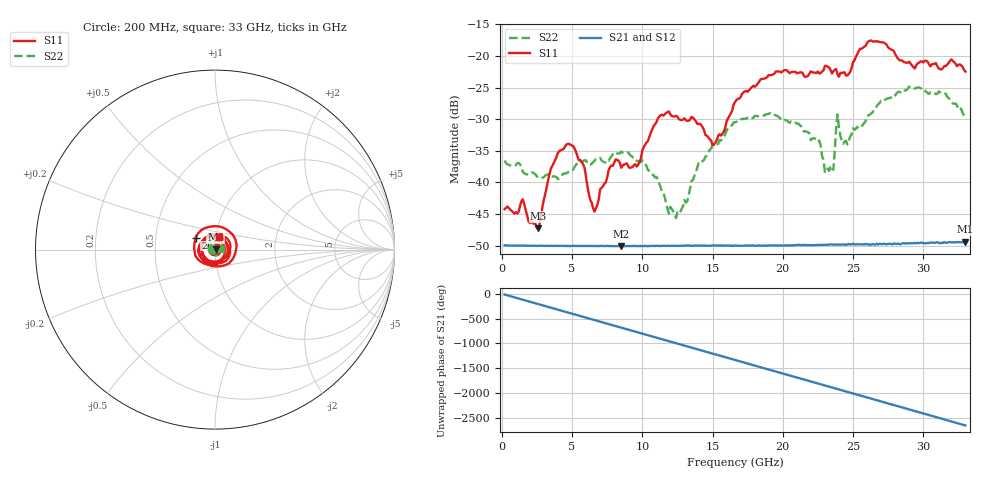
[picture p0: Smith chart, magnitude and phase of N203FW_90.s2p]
# GHZ S RI R 50
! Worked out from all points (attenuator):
!   329 points, 200 MHz to 33 GHz, reference 50 ohm
!   highest |S21| = -49.40 dB at 33 GHz (marker M1); lowest = -50.1 dB at 8.5 GHz (marker M2)
!   lowest |S11| = -47.2 dB at 2.6 GHz (marker M3), VSWR 1.01, Z = 50.4 + j0.104 ohm
!   |S11| at or under -10 dB: start of sweep to end of sweep
!   |S22| runs from -45.6 to -24.8 dB; largest |S21 - S12| = 8.8e-05
!   S11 on the Smith chart (normalised r, x): 200 MHz: 1.01, +0.00; 26 GHz: 0.80, +0.11; 33 GHz: 1.03, +0.15
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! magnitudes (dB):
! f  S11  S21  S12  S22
! 200 MHz  -44.2  -50.0  -49.9  -36.5
! 1.5 GHz  -42.7  -50.0  -50.0  -38.3
! 2.6 GHz  -47.2  -50.0  -50.0  -39.1
! 4 GHz  -35.3  -50.0  -50.0  -39.5
! 5.7 GHz  -36.8  -50.1  -50.0  -36.7
! 6.6 GHz  -44.6  -50.1  -50.1  -36.6
! 7.7 GHz  -37.6  -50.1  -50.1  -36.2
! 8.5 GHz  -37.7  -50.1  -50.1  -35.1
! 9.7 GHz  -37.2  -50.1  -50.1  -36.7
! 11.2 GHz  -29.6  -50.1  -50.0  -40.1
! 12.4 GHz  -29.5  -50.0  -50.0  -45.6
! 15 GHz  -34.1  -50.0  -50.0  -34.1
! 16.6 GHz  -27.3  -50.0  -50.0  -30.5
! 19.3 GHz  -22.9  -50.0  -50.0  -29.1
! 22.1 GHz  -22.6  -49.9  -49.9  -33.1
! 23.6 GHz  -22.4  -49.8  -49.8  -38.0
! 23.9 GHz  -22.9  -49.8  -49.8  -29.2
! 24.6 GHz  -23.1  -49.9  -49.8  -34.0
! 26 GHz  -17.9  -49.8  -49.8  -29.4
! 27.6 GHz  -18.8  -49.7  -49.7  -26.7
! 31.1 GHz  -22.0  -49.5  -49.3  -25.6
! 33 GHz  -22.5  -49.4  -49.4  -29.7
